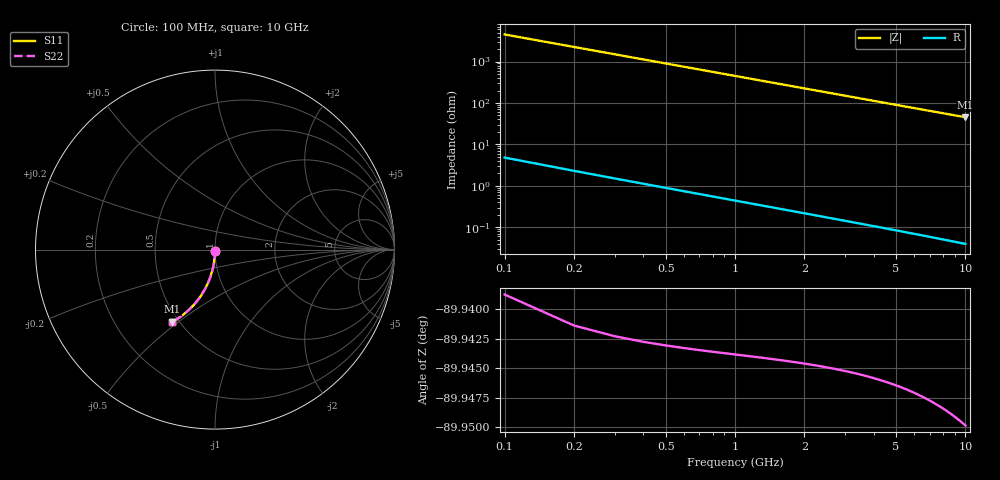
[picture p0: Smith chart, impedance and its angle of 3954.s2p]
# Hz S RI R 50.00
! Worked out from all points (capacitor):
!   100 points, 100 MHz to 10 GHz, reference 50 ohm
!   read as one part in shunt: C = 354 fF near 100 MHz
!   lowest |Z| = 45.3 ohm at 10 GHz (marker M1)
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1e8  0.000184 -0.00533  0.9997 -0.00578  0.9997 -0.00578  0.000184 -0.00533
2e8  8.8e-05 -0.0107  0.9996 -0.0116  0.9996 -0.0116  8.8e-05 -0.0107
3e8  -7.03e-05 -0.016  0.9995 -0.0173  0.9995 -0.0173  -7.03e-05 -0.016
4e8  -0.00029 -0.0213  0.9993 -0.0231  0.9993 -0.0231  -0.00029 -0.0213
5e8  -0.000572 -0.0266  0.999 -0.0289  0.999 -0.0289  -0.000572 -0.0266
6e8  -0.000915 -0.0319  0.9986 -0.0347  0.9986 -0.0347  -0.000915 -0.0319
7e8  -0.00132 -0.0372  0.9982 -0.0404  0.9982 -0.0404  -0.00132 -0.0372
8e8  -0.00178 -0.0425  0.9978 -0.0462  0.9978 -0.0462  -0.00178 -0.0425
9e8  -0.00231 -0.0478  0.9972 -0.0519  0.9972 -0.0519  -0.00231 -0.0478
1.1e9  -0.00355 -0.0584  0.996 -0.0634  0.996 -0.0634  -0.00355 -0.0584
1.4e9  -0.00585 -0.0741  0.9937 -0.0805  0.9937 -0.0805  -0.00585 -0.0741
1.8e9  -0.00975 -0.0949  0.9897 -0.1031  0.9897 -0.1031  -0.00975 -0.0949
2.1e9  -0.0133 -0.1103  0.9862 -0.1199  0.9862 -0.1199  -0.0133 -0.1103
2.5e9  -0.0188 -0.1305  0.9807 -0.142  0.9807 -0.142  -0.0188 -0.1305
2.9e9  -0.0252 -0.1504  0.9742 -0.1637  0.9742 -0.1637  -0.0252 -0.1504
3.4e9  -0.0344 -0.1746  0.965 -0.1903  0.965 -0.1903  -0.0344 -0.1746
4.2e9  -0.0516 -0.2118  0.9477 -0.2311  0.9477 -0.2311  -0.0516 -0.2118
5.1e9  -0.0744 -0.2508  0.9248 -0.2743  0.9248 -0.2743  -0.0744 -0.2508
5.9e9  -0.0972 -0.2828  0.9019 -0.3099  0.9019 -0.3099  -0.0972 -0.2828
6.7e9  -0.1221 -0.312  0.877 -0.3428  0.877 -0.3428  -0.1221 -0.312
8.4e9  -0.1797 -0.3646  0.819 -0.4034  0.819 -0.4034  -0.1797 -0.3646
1e10  -0.2375 -0.4024  0.7609 -0.4486  0.7609 -0.4486  -0.2375 -0.4024
